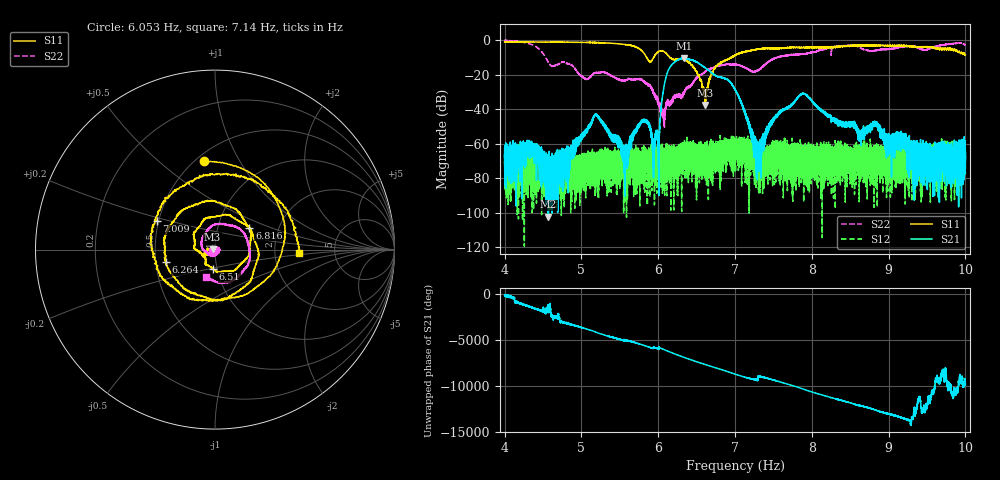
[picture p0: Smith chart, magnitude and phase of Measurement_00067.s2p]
!Created with skrf (http://scikit-rf.org).
# Hz S RI R 50.0
!freq ReS11 ImS11 ReS21 ImS21 ReS12 ImS12 ReS22 ImS22
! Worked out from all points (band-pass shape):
!   14001 points, 4 Hz to 10 Hz, reference 50 ohm
!   highest |S21| = -10.28 dB at 6.338 Hz (marker M1); lowest = -102.1 dB at 4.57 Hz (marker M2)
!   |S21| within 3 dB of the highest: 6.197 Hz to 6.525 Hz (328.2 mHz wide, 5.16 % of centre)
!   lowest |S11| = -37.4 dB at 6.613 Hz (marker M3), VSWR 1.03, Z = 48.7 + j0.0656 ohm
!   |S11| at or under -10 dB: 5.85 Hz to 5.942 Hz (91.31 mHz wide, 1.55 % of centre); 6.152 Hz to 6.951 Hz (799.8 mHz wide, 12.2 % of centre); 6.951791 Hz to 6.953474 Hz (1.683 mHz wide, 0.0242 % of centre)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
!   |S22| runs from -50.3 to -0.2 dB; largest |S21 - S12| = 0.31
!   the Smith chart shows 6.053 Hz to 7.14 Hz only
!   S11 on the Smith chart (normalised r, x): 6.053 Hz: 0.55, +0.72; 6.264 Hz: 0.57, -0.09; 6.51 Hz: 0.96, -0.21; 6.816 Hz: 1.42, +0.37; 7.009 Hz: 0.49, +0.18; 7.14 Hz: 2.77, -0.12
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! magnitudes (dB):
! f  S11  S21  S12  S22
! 4 Hz  -1.1  -66.4  -73.3  -0.2
! 4.366 Hz  -1.1  -64.0  -68.5  -2.8
! 4.57 Hz  -1.1  -102.1  -103.1  -12.7
! 5 Hz  -1.3  -57.2  -77.4  -20.7
! 5.188 Hz  -1.4  -42.7  -70.2  -19.0
! 5.568 Hz  -2.5  -66.5  -66.1  -23.7
! 5.803 Hz  -6.9  -47.3  -73.2  -23.6
! 6 Hz  -6.7  -59.1  -63.3  -36.0
! 6.053 Hz  -6.1  -33.8  -64.5  -40.8
! 6.264 Hz  -11.0  -11.3  -63.3  -31.5
! 6.338 Hz  -11.3  -10.3  -61.3  -30.9
! 6.51 Hz  -19.3  -12.9  -73.6  -21.6
! 6.613 Hz  -37.4  -16.0  -68.9  -18.1
! 6.816 Hz  -12.9  -21.6  -72.1  -14.6
! 7 Hz  -8.8  -28.5  -58.5  -14.0
! 7.009 Hz  -8.9  -29.3  -65.1  -14.1
! 7.14 Hz  -6.6  -43.1  -59.0  -15.9
! 7.309 Hz  -5.2  -63.9  -70.5  -17.4
! 7.587 Hz  -4.7  -41.3  -74.0  -9.5
! 8 Hz  -4.3  -35.0  -65.6  -6.9
! 9 Hz  -3.3  -55.4  -74.4  -5.0
! 10 Hz  -8.4  -68.4  -77.4  -3.1
